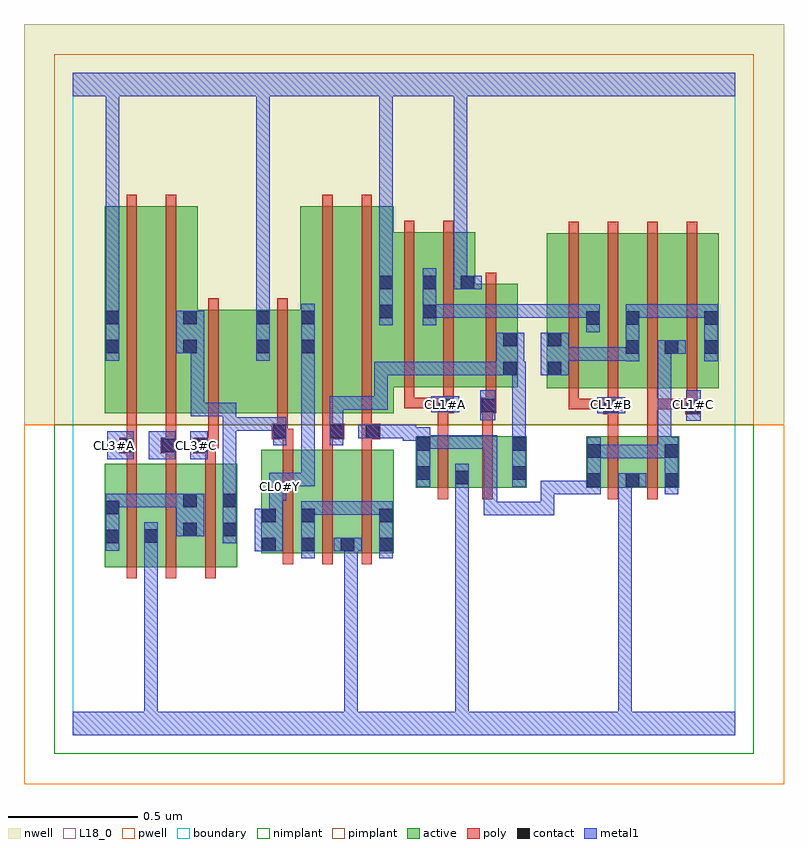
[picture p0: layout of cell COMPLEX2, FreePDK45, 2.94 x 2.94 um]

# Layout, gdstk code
import gdstk
lib = gdstk.Library(unit=1e-6, precision=1e-09)
def R(c, l, rs):  # rectangles x0, y0, x1, y1
    for r in rs: c.add(gdstk.rectangle(r[:2], r[2:], *l))
def A(c, l, x, y, w, h, nx, ny, dx, dy):  # array of equal rectangles
    R(c, l, [(x+i*dx, y+j*dy, x+i*dx+w, y+j*dy+h) for i in range(nx) for j in range(ny)])
active = (1, 0)
pwell = (2, 0)
nwell = (3, 0)
nimplant = (4, 0)
pimplant = (5, 0)
poly = (9, 0)
contact = (10, 0)
metal1 = (11, 0)
L18_0 = (18, 0)
boundary = (235, 0)

complex2 = lib.new_cell('COMPLEX2')
A(complex2, active, 0.272, 0.65, 0.06, 0.4, 3, 1, 0.152, 0)
A(complex2, active, 1.98, 1.34, 0.212, 0.6, 3, 1, 0.152, 0)
R(complex2, active, [(0.124,0.65,0.184,1.05), (0.124,0.65,0.332,1.05), (0.272,0.65,0.484,1.05), (0.424,0.65,0.636,1.05), (0.728,0.704,0.788,1.104), (0.728,0.704,0.94,1.104), (0.88,0.704,0.94,1.104), (0.88,0.704,1.092,1.104), (1.032,0.704,1.24,1.104), (1.032,0.704,1.092,0.828), (1.18,0.704,1.24,1.104), (1.326,0.956,1.386,1.156), (1.326,0.956,1.534,1.156), (1.474,0.956,1.754,1.156), (1.474,0.956,1.534,1.026), (1.694,0.956,1.754,1.156), (1.984,0.956,2.044,1.156), (1.984,0.956,2.192,1.156), (2.132,0.956,2.192,1.156), (2.132,0.956,2.344,1.156), (2.284,0.956,2.344,1.156), (0.124,1.244,0.304,2.044), (0.124,1.244,0.184,2.044), (0.304,1.244,0.484,2.044), (0.424,1.244,0.766,1.644), (0.424,1.244,0.484,1.816), (0.706,1.244,0.766,1.644), (0.706,1.244,0.94,1.644), (0.88,1.244,1.06,2.044), (0.88,1.244,0.94,2.044), (1.06,1.244,1.24,2.044), (1.832,1.34,1.892,1.844), (1.832,1.34,2.04,1.94), (2.436,1.34,2.496,1.844), (1.18,1.344,1.408,1.944), (1.348,1.344,1.556,1.944), (1.496,1.344,1.72,1.744), (1.66,1.344,1.72,1.644), (2.132,1.47,2.192,1.844), (2.284,1.47,2.344,1.844), (1.496,1.472,1.556,1.78), (1.98,1.582,2.04,1.844), (1.18,1.608,1.24,1.844), (1.348,1.608,1.408,1.844)])
R(complex2, pwell, [(-0.188,-0.188,2.748,1.2)])
R(complex2, nwell, [(-0.188,1.2,2.748,2.748)])
R(complex2, nimplant, [(-0.072,-0.072,2.632,1.2)])
R(complex2, pimplant, [(-0.072,1.2,2.632,2.632)])
A(complex2, poly, 0.208, 0.606, 0.04, 0.488, 3, 1, 0.152, 0)
A(complex2, poly, 0.812, 0.66, 0.04, 0.488, 3, 1, 0.152, 0)
A(complex2, poly, 0.208, 1.054, 0.04, 0.076, 3, 1, 0.152, 0)
A(complex2, poly, 0.812, 1.108, 0.04, 0.076, 3, 1, 0.152, 0)
A(complex2, poly, 1.916, 1.26, 0.04, 0.076, 4, 1, 0.152, 0)
A(complex2, poly, 1.916, 1.296, 0.04, 0.688, 4, 1, 0.152, 0)
R(complex2, poly, [(1.41,0.912,1.45,1.2), (1.582,0.912,1.622,1.2), (2.068,0.912,2.108,1.2), (2.22,0.912,2.26,1.2), (0.18,1.09,0.248,1.15), (0.208,1.09,0.248,1.13), (0.208,1.09,0.248,1.13), (0.34,1.09,0.4,1.15), (0.466,1.09,0.552,1.15), (0.208,1.11,0.248,1.24), (0.36,1.11,0.4,1.15), (0.36,1.11,0.4,1.15), (0.36,1.11,0.4,1.24), (0.512,1.11,0.552,1.15), (0.512,1.11,0.564,1.15), (0.524,1.11,0.564,1.24), (0.77,1.144,0.83,1.204), (0.79,1.144,0.83,1.184), (0.79,1.144,0.852,1.184), (0.964,1.144,1.004,1.184), (0.964,1.144,1.004,1.184), (0.964,1.144,1.05,1.204), (1.116,1.144,1.188,1.204), (1.41,1.16,1.45,1.284), (1.582,1.16,1.622,1.284), (2.068,1.16,2.108,1.28), (2.22,1.16,2.26,1.3), (0.79,1.164,0.83,1.24), (0.964,1.164,1.004,1.24), (1.116,1.164,1.156,1.24), (1.116,1.164,1.156,1.204), (1.116,1.164,1.156,1.204), (0.208,1.2,0.248,2.088), (0.36,1.2,0.4,2.088), (0.524,1.2,0.564,1.688), (0.79,1.2,0.83,1.688), (0.964,1.2,1.004,2.088), (1.116,1.2,1.156,2.088), (2.05,1.24,2.11,1.3), (2.366,1.24,2.426,1.3), (1.41,1.244,1.45,1.284), (1.41,1.244,1.45,1.284), (1.41,1.244,1.472,1.304), (1.576,1.244,1.636,1.304), (1.916,1.26,1.956,1.3), (1.916,1.26,1.956,1.3), (1.916,1.26,1.956,1.3), (1.916,1.26,2.108,1.3), (2.068,1.26,2.108,1.3), (2.068,1.26,2.108,1.3), (2.22,1.26,2.406,1.3), (2.22,1.26,2.26,1.3), (2.22,1.26,2.26,1.3), (2.22,1.26,2.26,1.3), (2.22,1.26,2.26,1.3), (2.22,1.26,2.26,1.3), (1.28,1.264,1.32,1.34), (1.28,1.264,1.32,1.304), (1.28,1.264,1.45,1.304), (1.41,1.264,1.45,1.304), (1.41,1.264,1.45,1.304), (1.432,1.264,1.472,1.34), (1.596,1.264,1.636,1.34), (1.596,1.264,1.636,1.304), (1.596,1.264,1.636,1.304), (1.28,1.3,1.32,1.988), (1.432,1.3,1.472,1.988), (1.596,1.3,1.636,1.788)])
A(complex2, contact, 0.732, 0.712, 0.052, 0.052, 3, 1, 0.152, 0)
A(complex2, contact, 2.136, 1.474, 0.052, 0.052, 3, 1, 0.152, 0)
R(complex2, contact, [(1.184,0.712,1.236,0.764), (0.128,0.742,0.18,0.794), (0.276,0.744,0.328,0.796), (0.428,0.77,0.48,0.822), (0.58,0.77,0.632,0.822), (0.732,0.824,0.784,0.876), (0.884,0.824,0.936,0.876), (1.184,0.824,1.236,0.876), (0.128,0.854,0.18,0.906), (0.428,0.882,0.48,0.934), (0.58,0.882,0.632,0.934), (1.988,0.96,2.04,1.012), (2.136,0.96,2.188,1.012), (2.288,0.96,2.34,1.012), (1.478,0.97,1.53,1.022), (1.33,0.988,1.382,1.04), (1.698,0.988,1.75,1.04), (1.988,1.072,2.04,1.124), (2.288,1.072,2.34,1.124), (0.184,1.094,0.236,1.146), (0.344,1.094,0.396,1.146), (0.47,1.094,0.522,1.146), (1.33,1.1,1.382,1.152), (1.698,1.1,1.75,1.152), (0.774,1.148,0.826,1.2), (0.994,1.148,1.046,1.2), (1.132,1.148,1.184,1.2), (2.054,1.244,2.106,1.296), (2.37,1.244,2.422,1.296), (1.414,1.248,1.466,1.3), (1.58,1.248,1.632,1.3), (1.664,1.392,1.716,1.444), (1.836,1.392,1.888,1.444), (0.128,1.476,0.18,1.528), (0.428,1.476,0.48,1.528), (0.71,1.476,0.762,1.528), (0.884,1.476,0.936,1.528), (1.664,1.504,1.716,1.556), (1.836,1.504,1.888,1.556), (1.984,1.586,2.036,1.638), (2.136,1.586,2.188,1.638), (2.44,1.586,2.492,1.638), (0.128,1.588,0.18,1.64), (0.428,1.588,0.48,1.64), (0.71,1.588,0.762,1.64), (0.884,1.588,0.936,1.64), (1.184,1.612,1.236,1.664), (1.352,1.612,1.404,1.664), (1.184,1.724,1.236,1.776), (1.352,1.724,1.404,1.776), (1.5,1.724,1.552,1.776)])
R(complex2, metal1, [(0,0,2.56,0.092), (0.276,0.04,0.328,0.092), (0.276,0.04,0.328,0.092), (0.276,0.04,0.328,0.092), (0.276,0.04,0.328,0.092), (0.276,0.04,0.328,0.092), (0.276,0.04,0.328,0.092), (0.276,0.04,0.328,0.092), (0.276,0.04,0.328,0.092), (0.276,0.04,0.328,0.092), (0.276,0.04,0.328,0.092), (0.276,0.04,0.328,0.092), (0.276,0.04,0.328,0.092), (0.276,0.04,0.328,0.768), (1.05,0.04,1.102,0.092), (1.05,0.04,1.102,0.092), (1.05,0.04,1.102,0.764), (1.478,0.04,1.53,0.092), (1.478,0.04,1.53,0.092), (1.478,0.04,1.53,0.092), (1.478,0.04,1.53,0.092), (1.478,0.04,1.53,0.092), (1.478,0.04,1.53,0.092), (1.478,0.04,1.53,0.092), (1.478,0.04,1.53,0.092), (1.478,0.04,1.53,0.092), (1.478,0.04,1.53,0.092), (1.478,0.04,1.53,0.092), (1.478,0.04,1.53,0.092), (1.478,0.04,1.53,0.994), (2.108,0.04,2.16,0.092), (2.108,0.04,2.16,0.092), (2.108,0.04,2.16,0.092), (2.108,0.04,2.16,0.092), (2.108,0.04,2.16,0.092), (2.108,0.04,2.16,0.092), (2.108,0.04,2.16,0.092), (2.108,0.04,2.16,0.092), (2.108,0.04,2.16,1.012), (0.884,0.684,0.936,0.904), (1.184,0.684,1.236,0.904), (0.704,0.712,0.812,0.876), (1.008,0.712,1.116,0.764), (1.05,0.712,1.102,0.764), (1.05,0.712,1.102,0.764), (1.05,0.712,1.102,0.764), (1.05,0.712,1.102,0.764), (1.05,0.712,1.102,0.764), (1.05,0.712,1.102,0.764), (1.05,0.712,1.102,0.764), (1.05,0.712,1.102,0.764), (1.05,0.712,1.102,0.764), (1.05,0.712,1.102,0.764), (0.128,0.714,0.18,0.934), (0.276,0.716,0.328,0.824), (0.58,0.742,0.632,0.962), (0.4,0.77,0.508,0.934), (0.76,0.824,0.812,0.958), (1.588,0.85,1.64,0.902), (1.588,0.85,1.64,0.902), (1.588,0.85,1.64,0.902), (1.588,0.85,1.86,0.902), (1.588,0.85,1.64,1.16), (1.808,0.85,1.86,0.902), (1.808,0.85,1.86,0.984), (0.884,0.852,0.936,0.904), (0.884,0.852,0.936,0.904), (0.884,0.852,1.102,0.904), (1.05,0.852,1.102,0.904), (1.05,0.852,1.218,0.904), (1.166,0.852,1.218,0.904), (1.166,0.852,1.236,0.904), (0.128,0.882,0.18,0.934), (0.128,0.882,0.18,0.934), (0.128,0.882,0.342,0.934), (0.29,0.882,0.342,0.934), (0.29,0.882,0.342,0.934), (0.29,0.882,0.342,0.934), (0.29,0.882,0.452,0.934), (0.76,0.906,0.826,1.014), (0.58,0.91,0.632,0.962), (0.58,0.91,0.632,0.962), (0.58,0.91,0.632,1.228), (1.808,0.932,1.86,0.984), (1.808,0.932,1.86,0.984), (1.808,0.932,1.86,0.984), (1.808,0.932,2.04,0.984), (1.988,0.932,2.04,1.152), (2.288,0.932,2.34,1.152), (1.478,0.942,1.53,0.994), (1.478,0.942,1.53,0.994), (1.478,0.942,1.53,0.994), (1.478,0.942,1.53,0.994), (1.478,0.942,1.53,1.05), (1.33,0.96,1.382,1.18), (1.698,0.96,1.75,1.18), (2.108,0.96,2.16,1.012), (2.108,0.96,2.16,1.012), (2.108,0.96,2.16,1.012), (2.108,0.96,2.16,1.012), (2.108,0.96,2.16,1.012), (2.108,0.96,2.16,1.012), (2.108,0.96,2.16,1.012), (2.108,0.96,2.16,1.012), (2.108,0.96,2.216,1.012), (0.774,0.962,0.826,1.014), (0.774,0.962,0.826,1.014), (0.774,0.962,0.936,1.014), (0.884,0.962,0.936,1.014), (0.884,0.962,0.936,1.5), (0.134,1.066,0.236,1.174), (0.294,1.066,0.396,1.174), (0.454,1.066,0.522,1.174), (1.988,1.07,2.04,1.122), (1.988,1.07,2.04,1.122), (1.988,1.07,2.202,1.122), (2.15,1.07,2.202,1.122), (2.15,1.07,2.202,1.122), (2.15,1.07,2.202,1.122), (2.15,1.07,2.34,1.122), (2.26,1.1,2.312,1.152), (2.26,1.1,2.312,1.152), (2.26,1.1,2.312,1.526), (2.26,1.1,2.34,1.152), (2.288,1.1,2.34,1.152), (1.33,1.108,1.514,1.16), (1.462,1.108,1.514,1.16), (1.462,1.108,1.514,1.16), (1.462,1.108,1.514,1.16), (1.462,1.108,1.64,1.16), (1.588,1.108,1.64,1.16), (0.774,1.12,0.826,1.228), (0.994,1.12,1.046,1.228), (1.33,1.128,1.382,1.19), (1.698,1.128,1.75,1.18), (1.698,1.128,1.75,1.18), (1.698,1.128,1.75,1.444), (1.276,1.138,1.328,1.2), (1.276,1.138,1.382,1.19), (1.33,1.138,1.382,1.19), (1.104,1.148,1.212,1.2), (1.16,1.148,1.212,1.2), (1.16,1.148,1.212,1.2), (1.16,1.148,1.328,1.2), (0.58,1.176,0.632,1.284), (0.58,1.176,0.826,1.228), (0.774,1.176,0.826,1.228), (0.774,1.176,0.826,1.228), (0.994,1.176,1.046,1.228), (0.994,1.176,1.046,1.31), (2.37,1.216,2.426,1.334), (1.574,1.218,1.632,1.334), (0.456,1.232,0.508,1.284), (0.456,1.232,0.632,1.284), (0.456,1.232,0.508,1.528), (0.58,1.232,0.632,1.284), (0.58,1.232,0.632,1.284), (2.026,1.244,2.134,1.306), (1.386,1.248,1.494,1.31), (0.994,1.258,1.218,1.31), (1.166,1.258,1.218,1.31), (1.166,1.258,1.218,1.31), (1.166,1.258,1.218,1.31), (1.166,1.258,1.218,1.444), (1.166,1.392,1.218,1.444), (1.166,1.392,1.328,1.444), (1.276,1.392,1.328,1.444), (1.276,1.392,1.328,1.444), (1.276,1.392,1.328,1.444), (1.276,1.392,1.514,1.444), (1.462,1.392,1.514,1.444), (1.462,1.392,1.514,1.444), (1.462,1.392,1.514,1.444), (1.462,1.392,1.688,1.444), (1.636,1.392,1.688,1.444), (1.636,1.392,1.688,1.444), (1.636,1.392,1.744,1.556), (1.692,1.392,1.744,1.444), (1.692,1.392,1.75,1.444), (1.808,1.392,1.916,1.556), (2.136,1.446,2.188,1.666), (2.44,1.446,2.492,1.666), (0.128,1.448,0.18,1.668), (0.71,1.448,0.762,1.668), (0.884,1.448,0.936,1.5), (0.884,1.448,0.936,1.5), (0.884,1.448,0.936,1.668), (1.864,1.448,1.916,1.5), (1.864,1.448,1.916,1.5), (1.864,1.448,2.05,1.5), (1.998,1.448,2.05,1.5), (1.998,1.448,2.05,1.5), (1.998,1.448,2.05,1.5), (1.998,1.448,2.188,1.5), (2.26,1.474,2.368,1.526), (0.4,1.476,0.508,1.64), (1.984,1.558,2.036,1.666), (1.184,1.584,1.236,1.804), (1.352,1.584,1.404,1.804), (1.352,1.614,1.516,1.666), (1.464,1.614,1.516,1.666), (1.464,1.614,1.516,1.666), (1.464,1.614,1.516,1.666), (1.464,1.614,1.75,1.666), (1.698,1.614,1.75,1.666), (1.698,1.614,1.75,1.666), (1.698,1.614,1.75,1.666), (1.698,1.614,1.86,1.666), (1.808,1.614,1.86,1.666), (1.808,1.614,1.86,1.666), (1.808,1.614,1.86,1.666), (1.808,1.614,2.036,1.666), (2.136,1.614,2.188,1.666), (2.136,1.614,2.188,1.666), (2.136,1.614,2.312,1.666), (2.26,1.614,2.312,1.666), (2.26,1.614,2.312,1.666), (2.26,1.614,2.312,1.666), (2.26,1.614,2.492,1.666), (2.44,1.614,2.492,1.666), (2.44,1.614,2.492,1.666), (0.128,1.616,0.18,2.52), (0.71,1.616,0.762,2.52), (1.472,1.724,1.524,1.776), (1.472,1.724,1.524,1.776), (1.472,1.724,1.524,1.776), (1.472,1.724,1.524,1.776), (1.472,1.724,1.524,1.776), (1.472,1.724,1.524,1.776), (1.472,1.724,1.58,1.776), (1.472,1.724,1.524,2.52), (1.184,1.752,1.236,2.52), (0,2.468,2.56,2.56), (0.128,2.468,0.18,2.52), (0.128,2.468,0.18,2.52), (0.128,2.468,0.18,2.52), (0.128,2.468,0.18,2.52), (0.128,2.468,0.18,2.52), (0.128,2.468,0.18,2.52), (0.128,2.468,0.18,2.52), (0.128,2.468,0.18,2.52), (0.71,2.468,0.762,2.52), (0.71,2.468,0.762,2.52), (0.71,2.468,0.762,2.52), (0.71,2.468,0.762,2.52), (0.71,2.468,0.762,2.52), (0.71,2.468,0.762,2.52), (0.71,2.468,0.762,2.52), (0.71,2.468,0.762,2.52), (0.71,2.468,0.762,2.52), (0.71,2.468,0.762,2.52), (0.71,2.468,0.762,2.52), (0.71,2.468,0.762,2.52), (0.71,2.468,0.762,2.52), (0.71,2.468,0.762,2.52), (0.71,2.468,0.762,2.52), (0.71,2.468,0.762,2.52), (1.184,2.468,1.236,2.52), (1.184,2.468,1.236,2.52), (1.184,2.468,1.236,2.52), (1.184,2.468,1.236,2.52), (1.184,2.468,1.236,2.52), (1.184,2.468,1.236,2.52), (1.184,2.468,1.236,2.52), (1.184,2.468,1.236,2.52), (1.472,2.468,1.524,2.52), (1.472,2.468,1.524,2.52), (1.472,2.468,1.524,2.52), (1.472,2.468,1.524,2.52), (1.472,2.468,1.524,2.52), (1.472,2.468,1.524,2.52)])
A(complex2, L18_0, 0.134, 1.094, 0.052, 0.052, 3, 1, 0.16, 0)
R(complex2, L18_0, [(0,0,2.56,0.092), (0.276,0.04,0.328,0.092), (0.276,0.04,0.328,0.092), (0.276,0.04,0.328,0.092), (0.276,0.04,0.328,0.092), (0.276,0.04,0.328,0.092), (0.276,0.04,0.328,0.092), (0.276,0.04,0.328,0.092), (0.276,0.04,0.328,0.092), (0.276,0.04,0.328,0.092), (0.276,0.04,0.328,0.092), (0.276,0.04,0.328,0.092), (0.276,0.04,0.328,0.092), (0.276,0.04,0.328,0.768), (1.05,0.04,1.102,0.092), (1.05,0.04,1.102,0.092), (1.05,0.04,1.102,0.764), (1.478,0.04,1.53,0.092), (1.478,0.04,1.53,0.092), (1.478,0.04,1.53,0.092), (1.478,0.04,1.53,0.092), (1.478,0.04,1.53,0.092), (1.478,0.04,1.53,0.092), (1.478,0.04,1.53,0.092), (1.478,0.04,1.53,0.092), (1.478,0.04,1.53,0.092), (1.478,0.04,1.53,0.092), (1.478,0.04,1.53,0.092), (1.478,0.04,1.53,0.092), (1.478,0.04,1.53,0.994), (2.108,0.04,2.16,0.092), (2.108,0.04,2.16,0.092), (2.108,0.04,2.16,0.092), (2.108,0.04,2.16,0.092), (2.108,0.04,2.16,0.092), (2.108,0.04,2.16,0.092), (2.108,0.04,2.16,0.092), (2.108,0.04,2.16,0.092), (2.108,0.04,2.16,1.012), (0.704,0.712,0.812,0.876), (1.008,0.712,1.116,0.764), (1.05,0.712,1.102,0.764), (1.05,0.712,1.102,0.764), (1.05,0.712,1.102,0.764), (1.05,0.712,1.102,0.764), (1.05,0.712,1.102,0.764), (1.05,0.712,1.102,0.764), (1.05,0.712,1.102,0.764), (1.05,0.712,1.102,0.764), (1.05,0.712,1.102,0.764), (1.05,0.712,1.102,0.764), (0.276,0.716,0.328,0.824), (0.76,0.824,0.812,0.958), (0.76,0.906,0.826,1.014), (0.774,0.934,0.826,0.986), (1.478,0.942,1.53,0.994), (1.478,0.942,1.53,0.994), (1.478,0.942,1.53,0.994), (1.478,0.942,1.53,0.994), (1.478,0.942,1.53,1.05), (2.108,0.96,2.16,1.012), (2.108,0.96,2.16,1.012), (2.108,0.96,2.16,1.012), (2.108,0.96,2.16,1.012), (2.108,0.96,2.16,1.012), (2.108,0.96,2.16,1.012), (2.108,0.96,2.16,1.012), (2.108,0.96,2.16,1.012), (2.108,0.96,2.216,1.012), (0.774,0.962,0.826,1.014), (0.774,0.962,0.826,1.014), (0.774,0.962,0.936,1.014), (0.884,0.962,0.936,1.014), (0.884,0.962,0.936,1.5), (0.134,1.066,0.236,1.174), (0.294,1.066,0.396,1.174), (0.454,1.066,0.522,1.174), (2.37,1.216,2.426,1.334), (1.574,1.218,1.632,1.334), (2.026,1.244,2.134,1.306), (1.386,1.248,1.494,1.31), (1.414,1.254,1.466,1.306), (1.574,1.254,1.626,1.306), (2.054,1.254,2.106,1.306), (2.374,1.254,2.426,1.306), (0.128,1.448,0.18,1.668), (0.71,1.448,0.762,1.668), (0.884,1.448,0.936,1.668), (0.884,1.448,0.936,1.5), (0.884,1.448,0.936,1.5), (1.184,1.584,1.236,1.804), (0.128,1.616,0.18,2.52), (0.71,1.616,0.762,2.52), (1.472,1.724,1.524,1.776), (1.472,1.724,1.524,1.776), (1.472,1.724,1.524,1.776), (1.472,1.724,1.524,1.776), (1.472,1.724,1.524,1.776), (1.472,1.724,1.524,1.776), (1.472,1.724,1.58,1.776), (1.472,1.724,1.524,2.52), (1.184,1.752,1.236,2.52), (0,2.468,2.56,2.56), (0.128,2.468,0.18,2.52), (0.128,2.468,0.18,2.52), (0.128,2.468,0.18,2.52), (0.128,2.468,0.18,2.52), (0.128,2.468,0.18,2.52), (0.128,2.468,0.18,2.52), (0.128,2.468,0.18,2.52), (0.128,2.468,0.18,2.52), (0.71,2.468,0.762,2.52), (0.71,2.468,0.762,2.52), (0.71,2.468,0.762,2.52), (0.71,2.468,0.762,2.52), (0.71,2.468,0.762,2.52), (0.71,2.468,0.762,2.52), (0.71,2.468,0.762,2.52), (0.71,2.468,0.762,2.52), (0.71,2.468,0.762,2.52), (0.71,2.468,0.762,2.52), (0.71,2.468,0.762,2.52), (0.71,2.468,0.762,2.52), (0.71,2.468,0.762,2.52), (0.71,2.468,0.762,2.52), (0.71,2.468,0.762,2.52), (0.71,2.468,0.762,2.52), (1.184,2.468,1.236,2.52), (1.184,2.468,1.236,2.52), (1.184,2.468,1.236,2.52), (1.184,2.468,1.236,2.52), (1.184,2.468,1.236,2.52), (1.184,2.468,1.236,2.52), (1.184,2.468,1.236,2.52), (1.184,2.468,1.236,2.52), (1.472,2.468,1.524,2.52), (1.472,2.468,1.524,2.52), (1.472,2.468,1.524,2.52), (1.472,2.468,1.524,2.52), (1.472,2.468,1.524,2.52), (1.472,2.468,1.524,2.52)])
R(complex2, boundary, [(0,0,2.56,2.56)])
complex2.add(gdstk.Label('CL0#Y', (0.8,0.96), layer=11, texttype=0))
complex2.add(gdstk.Label('CL1#A', (1.44,1.28), layer=11, texttype=0))
complex2.add(gdstk.Label('CL1#B', (2.08,1.28), layer=11, texttype=0))
complex2.add(gdstk.Label('CL1#C', (2.4,1.28), layer=11, texttype=0))
complex2.add(gdstk.Label('CL2#A', (1.6,1.28), layer=11, texttype=0))
complex2.add(gdstk.Label('CL3#A', (0.16,1.12), layer=11, texttype=0))
complex2.add(gdstk.Label('CL3#B', (0.32,1.12), layer=11, texttype=0))
complex2.add(gdstk.Label('CL3#C', (0.48,1.12), layer=11, texttype=0))

lib.write_gds('COMPLEX2.gds')
